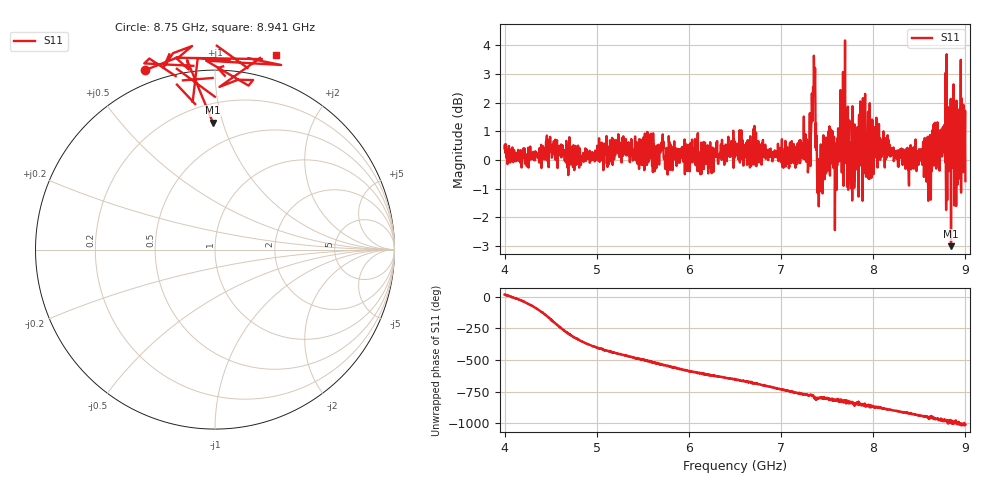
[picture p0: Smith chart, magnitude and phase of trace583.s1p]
! Created with skrf 1.8.0 (http://scikit-rf.org).
# Hz S RI R 50.0
!freq ReS11 ImS11
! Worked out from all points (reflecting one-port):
!   1601 points, 4 GHz to 9 GHz, reference 50 ohm
!   lowest |S11| = -3.0 dB at 8.844 GHz (marker M1), VSWR 5.85, Z = 16.4 + j46.4 ohm
!   phase of S11 starts at 17 deg and turns -1026 deg over the sweep
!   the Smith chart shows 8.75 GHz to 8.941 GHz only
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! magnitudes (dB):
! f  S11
! 4 GHz  0.4
! 4.247 GHz  -0.1
! 4.625 GHz  0.2
! 4.753 GHz  0.2
! 5.25 GHz  0.5
! 5.875 GHz  -0.1
! 6.5 GHz  0.6
! 7.125 GHz  0.2
! 7.294 GHz  -0.3
! 7.353 GHz  2.3
! 7.369 GHz  3.2
! 7.4 GHz  0.0
! 7.416 GHz  -0.1
! 7.5 GHz  0.3
! 7.609 GHz  -0.2
! 7.669 GHz  1.0
! 7.722 GHz  0.2
! 7.75 GHz  0.0
! 8.009 GHz  0.7
! 8.375 GHz  0.1
! 8.566 GHz  0.7
! 8.612 GHz  0.2
! 8.656 GHz  1.2
! 8.772 GHz  0.3
! 8.844 GHz  -3.0
! 8.903 GHz  2.1
! 8.972 GHz  0.7
! 9 GHz  -0.7
